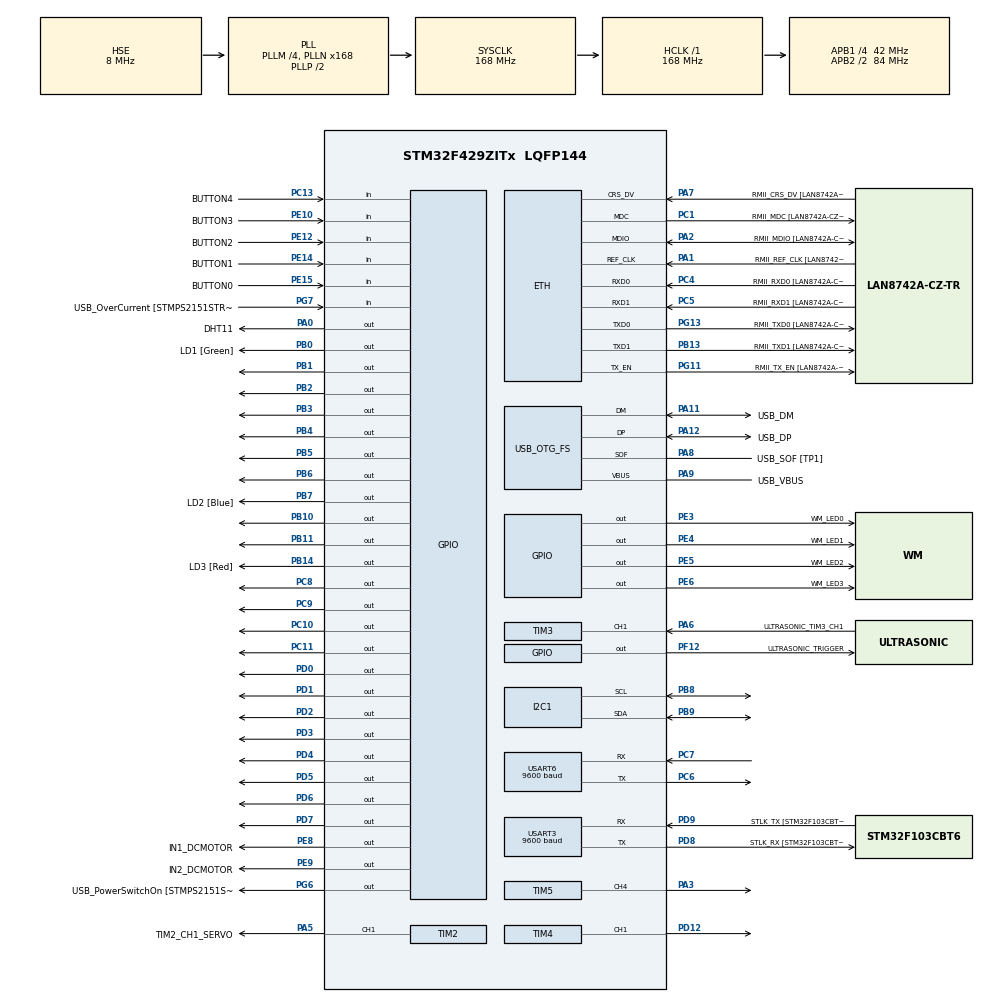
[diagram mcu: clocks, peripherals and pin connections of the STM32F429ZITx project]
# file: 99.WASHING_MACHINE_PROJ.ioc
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ETH.MediaInterface=HAL_ETH_RMII_MODE
ETH.PHY_Name=LAN8742A_PHY_ADDRESS
ETH.PHY_Value=0
ETH.PhyAddress=0
Mcu.Family=STM32F4
Mcu.Name=STM32F429ZITx
Mcu.Package=LQFP144
NVIC.PriorityGroup=NVIC_PRIORITYGROUP_4
NVIC.TIM1_TRG_COM_TIM11_IRQn=true\:0\:0\:false\:false\:true\:true\:true\:true
NVIC.TIM1_UP_TIM10_IRQn=true\:0\:0\:false\:false\:true\:true\:true\:true
NVIC.TIM2_IRQn=true\:0\:0\:false\:false\:true\:true\:true\:true
NVIC.TIM3_IRQn=true\:0\:0\:false\:false\:true\:true\:true\:true
NVIC.TIM5_IRQn=true\:0\:0\:false\:false\:true\:true\:true\:true
NVIC.USART3_IRQn=true\:0\:0\:false\:false\:true\:true\:true\:true
NVIC.USART6_IRQn=true\:0\:0\:false\:false\:true\:true\:true\:true
PA0/WKUP.GPIO_Label=DHT11
PA0/WKUP.Signal=GPIO_Output
PA1.GPIO_Label=RMII_REF_CLK [LAN8742A-CZ-TR_REFCLK0]
PA1.Mode=RMII
PA1.Signal=ETH_REF_CLK
PA10.GPIO_Label=USB_ID
PA10.Signal=USB_OTG_FS_ID
PA11.GPIO_Label=USB_DM
PA11.Mode=Device_Only
PA11.Signal=USB_OTG_FS_DM
PA12.GPIO_Label=USB_DP
PA12.Mode=Device_Only
PA12.Signal=USB_OTG_FS_DP
PA13.GPIO_Label=TMS
PA13.Mode=Serial_Wire
PA13.Signal=SYS_JTMS-SWDIO
PA14.GPIO_Label=TCK
PA14.Mode=Serial_Wire
PA14.Signal=SYS_JTCK-SWCLK
PA2.GPIO_Label=RMII_MDIO [LAN8742A-CZ-TR_MDIO]
PA2.Mode=RMII
PA2.Signal=ETH_MDIO
PA3.Signal=S_TIM5_CH4
PA5.GPIO_Label=TIM2_CH1_SERVO
PA5.Signal=S_TIM2_CH1_ETR
PA6.GPIO_Label=ULTRASONIC_TIM3_CH1
PA6.Signal=S_TIM3_CH1
PA7.GPIO_Label=RMII_CRS_DV [LAN8742A-CZ-TR_CRS_DV]
PA7.Mode=RMII
PA7.Signal=ETH_CRS_DV
PA8.GPIO_Label=USB_SOF [TP1]
PA8.Mode=Activate_SOF_FS
PA8.Signal=USB_OTG_FS_SOF
PA9.GPIO_Label=USB_VBUS
PA9.Mode=Activate_VBUS
PA9.Signal=USB_OTG_FS_VBUS
PB0.GPIO_Label=LD1 [Green]
PB0.Signal=GPIO_Output
PB1.Signal=GPIO_Output
PB10.Signal=GPIO_Output
PB11.Signal=GPIO_Output
PB13.GPIO_Label=RMII_TXD1 [LAN8742A-CZ-TR_TXD1]
PB13.Mode=RMII
PB13.Signal=ETH_TXD1
PB14.GPIO_Label=LD3 [Red]
PB14.Signal=GPIO_Output
PB2/BOOT1.Signal=GPIO_Output
PB3.Signal=GPIO_Output
PB4.Signal=GPIO_Output
PB5.Signal=GPIO_Output
PB6.Signal=GPIO_Output
PB7.GPIO_Label=LD2 [Blue]
PB7.Signal=GPIO_Output
PB8.Mode=I2C
PB8.Signal=I2C1_SCL
PB9.Mode=I2C
PB9.Signal=I2C1_SDA
PC1.GPIO_Label=RMII_MDC [LAN8742A-CZ-TR_MDC]
PC1.Mode=RMII
PC1.Signal=ETH_MDC
PC10.Signal=GPIO_Output
PC11.Signal=GPIO_Output
PC13.GPIO_Label=BUTTON4
PC13.Signal=GPIO_Input
PC14/OSC32_IN.Mode=LSE-External-Oscillator
PC14/OSC32_IN.Signal=RCC_OSC32_IN
PC15/OSC32_OUT.Mode=LSE-External-Oscillator
PC15/OSC32_OUT.Signal=RCC_OSC32_OUT
PC4.GPIO_Label=RMII_RXD0 [LAN8742A-CZ-TR_RXD0]
PC4.Mode=RMII
PC4.Signal=ETH_RXD0
PC5.GPIO_Label=RMII_RXD1 [LAN8742A-CZ-TR_RXD1]
PC5.Mode=RMII
PC5.Signal=ETH_RXD1
PC6.Mode=Asynchronous
PC6.Signal=USART6_TX
PC7.Mode=Asynchronous
PC7.Signal=USART6_RX
PC8.Signal=GPIO_Output
PC9.Signal=GPIO_Output
PD0.Signal=GPIO_Output
PD1.Signal=GPIO_Output
PD12.Signal=S_TIM4_CH1
PD2.Signal=GPIO_Output
PD3.Signal=GPIO_Output
PD4.Signal=GPIO_Output
PD5.Signal=GPIO_Output
PD6.Signal=GPIO_Output
PD7.Signal=GPIO_Output
PD8.GPIO_Label=STLK_RX [STM32F103CBT6_PA3]
PD8.Mode=Asynchronous
PD8.Signal=USART3_TX
PD9.GPIO_Label=STLK_TX [STM32F103CBT6_PA2]
PD9.Mode=Asynchronous
PD9.Signal=USART3_RX
PE10.GPIO_Label=BUTTON3
PE10.Signal=GPIO_Input
PE12.GPIO_Label=BUTTON2
PE12.Signal=GPIO_Input
PE14.GPIO_Label=BUTTON1
PE14.Signal=GPIO_Input
PE15.GPIO_Label=BUTTON0
PE15.Signal=GPIO_Input
PE3.GPIO_Label=WM_LED0
PE3.Signal=GPIO_Output
PE4.GPIO_Label=WM_LED1
PE4.Signal=GPIO_Output
PE5.GPIO_Label=WM_LED2
PE5.Signal=GPIO_Output
PE6.GPIO_Label=WM_LED3
PE6.Signal=GPIO_Output
PE8.GPIO_Label=IN1_DCMOTOR
PE8.Signal=GPIO_Output
PE9.GPIO_Label=IN2_DCMOTOR
PE9.Signal=GPIO_Output
PF12.GPIO_Label=ULTRASONIC_TRIGGER
PF12.Signal=GPIO_Output
PG11.GPIO_Label=RMII_TX_EN [LAN8742A-CZ-TR_TXEN]
PG11.Mode=RMII
PG11.Signal=ETH_TX_EN
PG13.GPIO_Label=RMII_TXD0 [LAN8742A-CZ-TR_TXD0]
PG13.Mode=RMII
PG13.Signal=ETH_TXD0
PG6.GPIO_Label=USB_PowerSwitchOn [STMPS2151STR_EN]
PG6.Signal=GPIO_Output
PG7.GPIO_Label=USB_OverCurrent [STMPS2151STR_FAULT]
PG7.Signal=GPIO_Input
PH0/OSC_IN.GPIO_Label=MCO [STM32F103CBT6_PA8]
PH0/OSC_IN.Mode=HSE-External-Clock-Source
PH0/OSC_IN.Signal=RCC_OSC_IN
PH1/OSC_OUT.Mode=HSE-External-Clock-Source
PH1/OSC_OUT.Signal=RCC_OSC_OUT
ProjectManager.HeapSize=0x200
ProjectManager.StackSize=0x400
ProjectManager.TargetToolchain=STM32CubeIDE
RCC.48MHZClocksFreq_Value=48000000
RCC.AHBFreq_Value=168000000
RCC.APB1CLKDivider=RCC_HCLK_DIV4
RCC.APB1Freq_Value=42000000
RCC.APB1TimFreq_Value=84000000
RCC.APB2CLKDivider=RCC_HCLK_DIV2
RCC.APB2Freq_Value=84000000
RCC.APB2TimCLKDivider=2
RCC.APB2TimFreq_Value=168000000
RCC.CortexFreq_Value=168000000
RCC.HCLKFreq_Value=168000000
RCC.HSE_VALUE=8000000
RCC.HSI_VALUE=16000000
RCC.PLLM=4
RCC.PLLMUL=RCC_PLL_MUL9
RCC.PLLN=168
RCC.PLLQ=7
RCC.PRESCALERUSB=RCC_USBCLKSOURCE_PLL_DIV1_5
RCC.SYSCLKFreq_VALUE=168000000
RCC.SYSCLKSource=RCC_SYSCLKSOURCE_PLLCLK
RCC.SYSCLKSourceVirtual=RCC_SYSCLKSOURCE_PLLCLK
RCC.USBFreq_Value=48000000
RCC.VCOOutputFreq_Value=336000000
RTC.Date=16
RTC.Hours=9
RTC.Minutes=40
RTC.Month=RTC_MONTH_OCTOBER
RTC.Seconds=0
RTC.Year=23
SH.S_TIM2_CH1_ETR.0=TIM2_CH1,PWM Generation1 CH1
SH.S_TIM3_CH1.0=TIM3_CH1,Input_Capture1_from_TI1
SH.S_TIM4_CH1.0=TIM4_CH1,PWM Generation1 CH1
SH.S_TIM5_CH4.0=TIM5_CH4,PWM Generation4 CH4
TIM10.Period=10000-1
TIM10.Prescaler=168-1
TIM11.Prescaler=168-1
TIM2.Channel-PWM\ Generation1\ CH1=TIM_CHANNEL_1
TIM2.Period=1000-1
TIM2.Prescaler=1680-1
TIM2.Pulse-PWM\ Generation1\ CH1=500-1
TIM3.Channel-Input_Capture1_from_TI1=TIM_CHANNEL_1
TIM3.ICPolarity_CH1=TIM_INPUTCHANNELPOLARITY_BOTHEDGE
TIM3.Prescaler=84-1
TIM4.Channel-PWM\ Generation1\ CH1=TIM_CHANNEL_1
TIM4.OCFastMode_PWM-PWM\ Generation1\ CH1=TIM_OCFAST_ENABLE
TIM4.Period=100-1
TIM4.Prescaler=840-1
TIM4.Pulse-PWM\ Generation1\ CH1=70-1
TIM5.Channel-PWM\ Generation4\ CH4=TIM_CHANNEL_4
TIM5.Period=400-1
TIM5.Prescaler=52.5-1
TIM5.Pulse-PWM\ Generation4\ CH4=200
USART3.BaudRate=9600
USART3.VirtualMode=VM_ASYNC
USART6.BaudRate=9600
USART6.VirtualMode=VM_ASYNC
USB_OTG_FS.VirtualMode=Device_Only
VP_RTC_VS_RTC_Activate.Mode=RTC_Enabled
VP_RTC_VS_RTC_Calendar.Mode=RTC_Calendar
VP_TIM10_VS_ClockSourceINT.Mode=Enable_Timer
VP_TIM11_VS_ClockSourceINT.Mode=Enable_Timer
VP_TIM4_VS_ClockSourceINT.Mode=Internal
VP_TIM5_VS_ClockSourceINT.Mode=Internal
board=NUCLEO-F429ZI

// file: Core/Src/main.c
/* USER CODE BEGIN Header */
/**
  ******************************************************************************
  * @file           : main.c
  * @brief          : Main program body
  ******************************************************************************
  * @attention
  *
  * Copyright (c) 2023 STMicroelectronics.
  * All rights reserved.
  *
  * This software is licensed under terms that can be found in the LICENSE file
  * in the root directory of this software component.
  * If no LICENSE file comes with this software, it is provided AS-IS.
  *
  ******************************************************************************
  */
/* USER CODE END Header */
#include "main.h"
#include "string.h"

ETH_TxPacketConfig TxConfig;
ETH_DMADescTypeDef  DMARxDscrTab[ETH_RX_DESC_CNT]; /* Ethernet Rx DMA Descriptors */
ETH_DMADescTypeDef  DMATxDscrTab[ETH_TX_DESC_CNT]; /* Ethernet Tx DMA Descriptors */

ETH_HandleTypeDef heth;

I2C_HandleTypeDef hi2c1;

RTC_HandleTypeDef hrtc;

TIM_HandleTypeDef htim2;
TIM_HandleTypeDef htim3;
TIM_HandleTypeDef htim4;
TIM_HandleTypeDef htim5;
TIM_HandleTypeDef htim10;
TIM_HandleTypeDef htim11;

UART_HandleTypeDef huart3;
UART_HandleTypeDef huart6;

PCD_HandleTypeDef hpcd_USB_OTG_FS;

/* USER CODE BEGIN PV */
uint8_t rx_data;	// uart3 rx_data
uint8_t bt_rx_data;	// uart6 rx_data
volatile int TIM10_10ms_counter=0;
volatile int TIM10_10ms_ultrasonic=0;
/* USER CODE END PV */

void SystemClock_Config(void);
static void MX_GPIO_Init(void);
static void MX_ETH_Init(void);
static void MX_USART3_UART_Init(void);
static void MX_USB_OTG_FS_PCD_Init(void);
static void MX_USART6_UART_Init(void);
static void MX_TIM10_Init(void);
static void MX_TIM11_Init(void);
static void MX_TIM3_Init(void);
static void MX_I2C1_Init(void);
static void MX_TIM4_Init(void);
static void MX_TIM2_Init(void);
static void MX_RTC_Init(void);
static void MX_TIM5_Init(void);
/* USER CODE BEGIN PFP */
extern void led_main(void);
extern void pc_command_processing(void);
extern void bt_command_processing(void);
extern void DHT11_main(void);
extern void DHT11_Init(void);
extern void DHT11_processing(void);
extern void ultrasonic_processing(void);
extern void i2c_lcd_main(void);
extern void i2c_lcd_init(void);
extern void lcd_string(uint8_t *str);
extern void move_cursor(uint8_t row, uint8_t column);
extern void dcmotor_pwm_control(void);
extern void servo_motor_test_main(void);
extern void get_rtc(void);
extern void lcd_display_mode_select(void);
extern void set_time_button_ui(void);
extern void buzzer_main();
extern void fnd4digit_main(void);
extern void FND4digit_off(void);
extern void fnd4digit_sec_clock(void);
extern void wm_menu(void);

void delay_us (unsigned long us);
/* USER CODE END PFP */

/* USER CODE BEGIN 0 */
//---------------------
// call by SysTic_Handler of stm32f4xx_it.c
// ARM default timer
// enter here every 1ms
volatile int t1ms_counter=0;	//volatile: for disable optimize
volatile int fnd1ms_counter=0;
void HAL_SYSTICK_Handler(void)	//
{
	t1ms_counter++;	// 1ms timer
	fnd1ms_counter++;
}

//----------  printf start ----------
#ifdef __GNUC__
/* With GCC, small printf (option LD Linker->Libraries->Small printf
   set to 'Yes') calls __io_putchar() */
#define PUTCHAR_PROTOTYPE int __io_putchar(int ch)
#else
#define PUTCHAR_PROTOTYPE int fputc(int ch, FILE *f)
#endif /* __GNUC_ */
/**
  * @brief  Retargets the C library printf function to the USART.
  * @param  None
  * @retval None
  */
PUTCHAR_PROTOTYPE   // Add for printf
{
  /* Place your implementation of fputc here */
  /* e.g. write a character to the USART3 and Loop until the end of transmission */
  HAL_UART_Transmit(&huart3, (uint8_t *)&ch, 1, 0xFFFF);

  return ch;
}

// move from Driver/STM32F4xx_HAL_Driver/stm32f4xx_hal_tim.c to here
// enter here when every timer INT occurs

void HAL_TIM_PeriodElapsedCallback(TIM_HandleTypeDef *htim)
{
	if(htim->Instance == TIM10)
	{
		TIM10_10ms_counter++;	// 10 ms timer counter
		TIM10_10ms_ultrasonic++;// ultrasonic trigger timer
	}
}

void delay_us (unsigned long us)
{
	__HAL_TIM_SET_COUNTER(&htim11, 0);	// tim11 clear
	while(__HAL_TIM_GET_COUNTER(&htim11) < us)
		;
}
/* USER CODE END 0 */

int main(void)
{

  /* MCU Configuration--------------------------------------------------------*/

  /* Reset of all peripherals, Initializes the Flash interface and the Systick. */
  HAL_Init();

  /* Configure the system clock */
  SystemClock_Config();

  /* Initialize all configured peripherals */
  MX_GPIO_Init();
  MX_ETH_Init();
  MX_USART3_UART_Init();
  MX_USB_OTG_FS_PCD_Init();
  MX_USART6_UART_Init();
  MX_TIM10_Init();
  MX_TIM11_Init();
  MX_TIM3_Init();
  MX_I2C1_Init();
  MX_TIM4_Init();
  MX_TIM2_Init();
  MX_RTC_Init();
  MX_TIM5_Init();
  /* USER CODE BEGIN 2 */
  HAL_UART_Receive_IT(&huart3, &rx_data, 1);		//assing to RX INT
  HAL_UART_Receive_IT(&huart6, &bt_rx_data, 1);		//assing to BT RX INT
  HAL_TIM_Base_Start_IT(&htim10);		// ADD_HYUCK_1011
  HAL_TIM_Base_Start_IT(&htim11);		// ADD_HYUCK_1011
  HAL_TIM_IC_Start_IT(&htim3, TIM_CHANNEL_1);	// for count pulse(rising edge & falling edge) - echo
  HAL_TIM_PWM_Start_IT(&htim4, TIM_CHANNEL_1);	// for DC motor PWM control
//  HAL_TIM_PWM_Start(&htim2, TIM_CHANNEL_1);	// for SERVO motor PWM
//  HAL_TIM_PWM_Start(&htim5, TIM_CHANNEL_4);	// PIEZO Buzzer

  DHT11_Init();
  i2c_lcd_init();
//  FND4digit_off();

//  led_main();
//  DHT11_main();
//  i2c_lcd_main();
//  servo_motor_test_main();
//  buzzer_main();
//  fnd4digit_main();
  /* USER CODE END 2 */

  /* Infinite loop */
  /* USER CODE BEGIN WHILE */
  while (1)
  {
	  lcd_display_mode_select();
//	  pc_command_processing();
//	  ultrasonic_processing();
//	  DHT11_processing();
//	  set_time_button_ui();
//	  fnd4digit_sec_clock();
	  wm_menu();

//	  get_rtc();
//	  dcmotor_pwm_control();
    /* USER CODE END WHILE */

  }
}

void SystemClock_Config(void)
{
  RCC_OscInitTypeDef RCC_OscInitStruct = {0};
  RCC_ClkInitTypeDef RCC_ClkInitStruct = {0};

  /** Configure the main internal regulator output voltage
  */
  __HAL_RCC_PWR_CLK_ENABLE();
  __HAL_PWR_VOLTAGESCALING_CONFIG(PWR_REGULATOR_VOLTAGE_SCALE1);

  /** Initializes the RCC Oscillators according to the specified parameters
  * in the RCC_OscInitTypeDef structure.
  */
  RCC_OscInitStruct.OscillatorType = RCC_OSCILLATORTYPE_LSI|RCC_OSCILLATORTYPE_HSE;
  RCC_OscInitStruct.HSEState = RCC_HSE_BYPASS;
  RCC_OscInitStruct.LSIState = RCC_LSI_ON;
  RCC_OscInitStruct.PLL.PLLState = RCC_PLL_ON;
  RCC_OscInitStruct.PLL.PLLSource = RCC_PLLSOURCE_HSE;
  RCC_OscInitStruct.PLL.PLLM = 4;
  RCC_OscInitStruct.PLL.PLLN = 168;
  RCC_OscInitStruct.PLL.PLLP = RCC_PLLP_DIV2;
  RCC_OscInitStruct.PLL.PLLQ = 7;
  if (HAL_RCC_OscConfig(&RCC_OscInitStruct) != HAL_OK)
  {
    Error_Handler();
  }

  /** Initializes the CPU, AHB and APB buses clocks
  */
  RCC_ClkInitStruct.ClockType = RCC_CLOCKTYPE_HCLK|RCC_CLOCKTYPE_SYSCLK
                              |RCC_CLOCKTYPE_PCLK1|RCC_CLOCKTYPE_PCLK2;
  RCC_ClkInitStruct.SYSCLKSource = RCC_SYSCLKSOURCE_PLLCLK;
  RCC_ClkInitStruct.AHBCLKDivider = RCC_SYSCLK_DIV1;
  RCC_ClkInitStruct.APB1CLKDivider = RCC_HCLK_DIV4;
  RCC_ClkInitStruct.APB2CLKDivider = RCC_HCLK_DIV2;

  if (HAL_RCC_ClockConfig(&RCC_ClkInitStruct, FLASH_LATENCY_5) != HAL_OK)
  {
    Error_Handler();
  }
}

static void MX_ETH_Init(void)
{

   static uint8_t MACAddr[6];

  heth.Instance = ETH;
  MACAddr[0] = 0x00;
  MACAddr[1] = 0x80;
  MACAddr[2] = 0xE1;
  MACAddr[3] = 0x00;
  MACAddr[4] = 0x00;
  MACAddr[5] = 0x00;
  heth.Init.MACAddr = &MACAddr[0];
  heth.Init.MediaInterface = HAL_ETH_RMII_MODE;
  heth.Init.TxDesc = DMATxDscrTab;
  heth.Init.RxDesc = DMARxDscrTab;
  heth.Init.RxBuffLen = 1524;

  if (HAL_ETH_Init(&heth) != HAL_OK)
  {
    Error_Handler();
  }

  memset(&TxConfig, 0 , sizeof(ETH_TxPacketConfig));
  TxConfig.Attributes = ETH_TX_PACKETS_FEATURES_CSUM | ETH_TX_PACKETS_FEATURES_CRCPAD;
  TxConfig.ChecksumCtrl = ETH_CHECKSUM_IPHDR_PAYLOAD_INSERT_PHDR_CALC;
  TxConfig.CRCPadCtrl = ETH_CRC_PAD_INSERT;

}

static void MX_I2C1_Init(void)
{

  hi2c1.Instance = I2C1;
  hi2c1.Init.ClockSpeed = 100000;
  hi2c1.Init.DutyCycle = I2C_DUTYCYCLE_2;
  hi2c1.Init.OwnAddress1 = 0;
  hi2c1.Init.AddressingMode = I2C_ADDRESSINGMODE_7BIT;
  hi2c1.Init.DualAddressMode = I2C_DUALADDRESS_DISABLE;
  hi2c1.Init.OwnAddress2 = 0;
  hi2c1.Init.GeneralCallMode = I2C_GENERALCALL_DISABLE;
  hi2c1.Init.NoStretchMode = I2C_NOSTRETCH_DISABLE;
  if (HAL_I2C_Init(&hi2c1) != HAL_OK)
  {
    Error_Handler();
  }

  /** Configure Analogue filter
  */
  if (HAL_I2CEx_ConfigAnalogFilter(&hi2c1, I2C_ANALOGFILTER_ENABLE) != HAL_OK)
  {
    Error_Handler();
  }

  /** Configure Digital filter
  */
  if (HAL_I2CEx_ConfigDigitalFilter(&hi2c1, 0) != HAL_OK)
  {
    Error_Handler();
  }

}

static void MX_RTC_Init(void)
{

  RTC_TimeTypeDef sTime = {0};
  RTC_DateTypeDef sDate = {0};

  /** Initialize RTC Only
  */
  hrtc.Instance = RTC;
  hrtc.Init.HourFormat = RTC_HOURFORMAT_24;
  hrtc.Init.AsynchPrediv = 127;
  hrtc.Init.SynchPrediv = 255;
  hrtc.Init.OutPut = RTC_OUTPUT_DISABLE;
  hrtc.Init.OutPutPolarity = RTC_OUTPUT_POLARITY_HIGH;
  hrtc.Init.OutPutType = RTC_OUTPUT_TYPE_OPENDRAIN;
  if (HAL_RTC_Init(&hrtc) != HAL_OK)
  {
    Error_Handler();
  }

  /** Initialize RTC and set the Time and Date
  */
  sTime.Hours = 0x9;
  sTime.Minutes = 0x40;
  sTime.Seconds = 0x0;
  sTime.DayLightSaving = RTC_DAYLIGHTSAVING_NONE;
  sTime.StoreOperation = RTC_STOREOPERATION_RESET;
  if (HAL_RTC_SetTime(&hrtc, &sTime, RTC_FORMAT_BCD) != HAL_OK)
  {
    Error_Handler();
  }
  sDate.WeekDay = RTC_WEEKDAY_MONDAY;
  sDate.Month = RTC_MONTH_OCTOBER;
  sDate.Date = 0x16;
  sDate.Year = 0x23;

  if (HAL_RTC_SetDate(&hrtc, &sDate, RTC_FORMAT_BCD) != HAL_OK)
  {
    Error_Handler();
  }

}

static void MX_TIM2_Init(void)
{

  TIM_MasterConfigTypeDef sMasterConfig = {0};
  TIM_OC_InitTypeDef sConfigOC = {0};

  htim2.Instance = TIM2;
  htim2.Init.Prescaler = 1680-1;
  htim2.Init.CounterMode = TIM_COUNTERMODE_UP;
  htim2.Init.Period = 1000-1;
  htim2.Init.ClockDivision = TIM_CLOCKDIVISION_DIV1;
  htim2.Init.AutoReloadPreload = TIM_AUTORELOAD_PRELOAD_DISABLE;
  if (HAL_TIM_PWM_Init(&htim2) != HAL_OK)
  {
    Error_Handler();
  }
  sMasterConfig.MasterOutputTrigger = TIM_TRGO_RESET;
  sMasterConfig.MasterSlaveMode = TIM_MASTERSLAVEMODE_DISABLE;
  if (HAL_TIMEx_MasterConfigSynchronization(&htim2, &sMasterConfig) != HAL_OK)
  {
    Error_Handler();
  }
  sConfigOC.OCMode = TIM_OCMODE_PWM1;
  sConfigOC.Pulse = 500-1;
  sConfigOC.OCPolarity = TIM_OCPOLARITY_HIGH;
  sConfigOC.OCFastMode = TIM_OCFAST_DISABLE;
  if (HAL_TIM_PWM_ConfigChannel(&htim2, &sConfigOC, TIM_CHANNEL_1) != HAL_OK)
  {
    Error_Handler();
  }
  HAL_TIM_MspPostInit(&htim2);

}

static void MX_TIM3_Init(void)
{

  TIM_MasterConfigTypeDef sMasterConfig = {0};
  TIM_IC_InitTypeDef sConfigIC = {0};

  htim3.Instance = TIM3;
  htim3.Init.Prescaler = 84-1;
  htim3.Init.CounterMode = TIM_COUNTERMODE_UP;
  htim3.Init.Period = 65535;
  htim3.Init.ClockDivision = TIM_CLOCKDIVISION_DIV1;
  htim3.Init.AutoReloadPreload = TIM_AUTORELOAD_PRELOAD_DISABLE;
  if (HAL_TIM_IC_Init(&htim3) != HAL_OK)
  {
    Error_Handler();
  }
  sMasterConfig.MasterOutputTrigger = TIM_TRGO_RESET;
  sMasterConfig.MasterSlaveMode = TIM_MASTERSLAVEMODE_DISABLE;
  if (HAL_TIMEx_MasterConfigSynchronization(&htim3, &sMasterConfig) != HAL_OK)
  {
    Error_Handler();
  }
  sConfigIC.ICPolarity = TIM_INPUTCHANNELPOLARITY_BOTHEDGE;
  sConfigIC.ICSelection = TIM_ICSELECTION_DIRECTTI;
  sConfigIC.ICPrescaler = TIM_ICPSC_DIV1;
  sConfigIC.ICFilter = 0;
  if (HAL_TIM_IC_ConfigChannel(&htim3, &sConfigIC, TIM_CHANNEL_1) != HAL_OK)
  {
    Error_Handler();
  }

}

static void MX_TIM4_Init(void)
{

  TIM_ClockConfigTypeDef sClockSourceConfig = {0};
  TIM_MasterConfigTypeDef sMasterConfig = {0};
  TIM_OC_InitTypeDef sConfigOC = {0};

  htim4.Instance = TIM4;
  htim4.Init.Prescaler = 840-1;
  htim4.Init.CounterMode = TIM_COUNTERMODE_UP;
  htim4.Init.Period = 100-1;
  htim4.Init.ClockDivision = TIM_CLOCKDIVISION_DIV1;
  htim4.Init.AutoReloadPreload = TIM_AUTORELOAD_PRELOAD_DISABLE;
  if (HAL_TIM_Base_Init(&htim4) != HAL_OK)
  {
    Error_Handler();
  }
  sClockSourceConfig.ClockSource = TIM_CLOCKSOURCE_INTERNAL;
  if (HAL_TIM_ConfigClockSource(&htim4, &sClockSourceConfig) != HAL_OK)
  {
    Error_Handler();
  }
  if (HAL_TIM_PWM_Init(&htim4) != HAL_OK)
  {
    Error_Handler();
  }
  sMasterConfig.MasterOutputTrigger = TIM_TRGO_RESET;
  sMasterConfig.MasterSlaveMode = TIM_MASTERSLAVEMODE_DISABLE;
  if (HAL_TIMEx_MasterConfigSynchronization(&htim4, &sMasterConfig) != HAL_OK)
  {
    Error_Handler();
  }
  sConfigOC.OCMode = TIM_OCMODE_PWM1;
  sConfigOC.Pulse = 70-1;
  sConfigOC.OCPolarity = TIM_OCPOLARITY_HIGH;
  sConfigOC.OCFastMode = TIM_OCFAST_ENABLE;
  if (HAL_TIM_PWM_ConfigChannel(&htim4, &sConfigOC, TIM_CHANNEL_1) != HAL_OK)
  {
    Error_Handler();
  }
  HAL_TIM_MspPostInit(&htim4);

}

static void MX_TIM5_Init(void)
{

  TIM_ClockConfigTypeDef sClockSourceConfig = {0};
  TIM_MasterConfigTypeDef sMasterConfig = {0};
  TIM_OC_InitTypeDef sConfigOC = {0};

  htim5.Instance = TIM5;
  htim5.Init.Prescaler = 52.5-1;
  htim5.Init.CounterMode = TIM_COUNTERMODE_UP;
  htim5.Init.Period = 400-1;
  htim5.Init.ClockDivision = TIM_CLOCKDIVISION_DIV1;
  htim5.Init.AutoReloadPreload = TIM_AUTORELOAD_PRELOAD_DISABLE;
  if (HAL_TIM_Base_Init(&htim5) != HAL_OK)
  {
    Error_Handler();
  }
  sClockSourceConfig.ClockSource = TIM_CLOCKSOURCE_INTERNAL;
  if (HAL_TIM_ConfigClockSource(&htim5, &sClockSourceConfig) != HAL_OK)
  {
    Error_Handler();
  }
  if (HAL_TIM_PWM_Init(&htim5) != HAL_OK)
  {
    Error_Handler();
  }
  sMasterConfig.MasterOutputTrigger = TIM_TRGO_RESET;
  sMasterConfig.MasterSlaveMode = TIM_MASTERSLAVEMODE_DISABLE;
  if (HAL_TIMEx_MasterConfigSynchronization(&htim5, &sMasterConfig) != HAL_OK)
  {
    Error_Handler();
  }
  sConfigOC.OCMode = TIM_OCMODE_PWM1;
  sConfigOC.Pulse = 200;
  sConfigOC.OCPolarity = TIM_OCPOLARITY_HIGH;
  sConfigOC.OCFastMode = TIM_OCFAST_DISABLE;
  if (HAL_TIM_PWM_ConfigChannel(&htim5, &sConfigOC, TIM_CHANNEL_4) != HAL_OK)
  {
    Error_Handler();
  }
  HAL_TIM_MspPostInit(&htim5);

}

static void MX_TIM10_Init(void)
{

  htim10.Instance = TIM10;
  htim10.Init.Prescaler = 168-1;
  htim10.Init.CounterMode = TIM_COUNTERMODE_UP;
  htim10.Init.Period = 10000-1;
  htim10.Init.ClockDivision = TIM_CLOCKDIVISION_DIV1;
  htim10.Init.AutoReloadPreload = TIM_AUTORELOAD_PRELOAD_DISABLE;
  if (HAL_TIM_Base_Init(&htim10) != HAL_OK)
  {
    Error_Handler();
  }

}

static void MX_TIM11_Init(void)
{

  htim11.Instance = TIM11;
  htim11.Init.Prescaler = 168-1;
  htim11.Init.CounterMode = TIM_COUNTERMODE_UP;
  htim11.Init.Period = 65535;
  htim11.Init.ClockDivision = TIM_CLOCKDIVISION_DIV1;
  htim11.Init.AutoReloadPreload = TIM_AUTORELOAD_PRELOAD_DISABLE;
  if (HAL_TIM_Base_Init(&htim11) != HAL_OK)
  {
    Error_Handler();
  }

}

static void MX_USART3_UART_Init(void)
{

  huart3.Instance = USART3;
  huart3.Init.BaudRate = 9600;
  huart3.Init.WordLength = UART_WORDLENGTH_8B;
  huart3.Init.StopBits = UART_STOPBITS_1;
  huart3.Init.Parity = UART_PARITY_NONE;
  huart3.Init.Mode = UART_MODE_TX_RX;
  huart3.Init.HwFlowCtl = UART_HWCONTROL_NONE;
  huart3.Init.OverSampling = UART_OVERSAMPLING_16;
  if (HAL_UART_Init(&huart3) != HAL_OK)
  {
    Error_Handler();
  }

}

static void MX_USART6_UART_Init(void)
{

  huart6.Instance = USART6;
  huart6.Init.BaudRate = 9600;
  huart6.Init.WordLength = UART_WORDLENGTH_8B;
  huart6.Init.StopBits = UART_STOPBITS_1;
  huart6.Init.Parity = UART_PARITY_NONE;
  huart6.Init.Mode = UART_MODE_TX_RX;
  huart6.Init.HwFlowCtl = UART_HWCONTROL_NONE;
  huart6.Init.OverSampling = UART_OVERSAMPLING_16;
  if (HAL_UART_Init(&huart6) != HAL_OK)
  {
    Error_Handler();
  }

}

static void MX_USB_OTG_FS_PCD_Init(void)
{

  hpcd_USB_OTG_FS.Instance = USB_OTG_FS;
  hpcd_USB_OTG_FS.Init.dev_endpoints = 4;
  hpcd_USB_OTG_FS.Init.speed = PCD_SPEED_FULL;
  hpcd_USB_OTG_FS.Init.dma_enable = DISABLE;
  hpcd_USB_OTG_FS.Init.phy_itface = PCD_PHY_EMBEDDED;
  hpcd_USB_OTG_FS.Init.Sof_enable = ENABLE;
  hpcd_USB_OTG_FS.Init.low_power_enable = DISABLE;
  hpcd_USB_OTG_FS.Init.lpm_enable = DISABLE;
  hpcd_USB_OTG_FS.Init.vbus_sensing_enable = ENABLE;
  hpcd_USB_OTG_FS.Init.use_dedicated_ep1 = DISABLE;
  if (HAL_PCD_Init(&hpcd_USB_OTG_FS) != HAL_OK)
  {
    Error_Handler();
  }

}

static void MX_GPIO_Init(void)
{
  GPIO_InitTypeDef GPIO_InitStruct = {0};

  /* GPIO Ports Clock Enable */
  __HAL_RCC_GPIOE_CLK_ENABLE();
  __HAL_RCC_GPIOC_CLK_ENABLE();
  __HAL_RCC_GPIOH_CLK_ENABLE();
  __HAL_RCC_GPIOA_CLK_ENABLE();
  __HAL_RCC_GPIOB_CLK_ENABLE();
  __HAL_RCC_GPIOF_CLK_ENABLE();
  __HAL_RCC_GPIOD_CLK_ENABLE();
  __HAL_RCC_GPIOG_CLK_ENABLE();

  /*Configure GPIO pin Output Level */
  HAL_GPIO_WritePin(GPIOE, WM_LED0_Pin|WM_LED1_Pin|WM_LED2_Pin|WM_LED3_Pin
                          |IN1_DCMOTOR_Pin|IN2_DCMOTOR_Pin, GPIO_PIN_RESET);

  /*Configure GPIO pin Output Level */
  HAL_GPIO_WritePin(DHT11_GPIO_Port, DHT11_Pin, GPIO_PIN_RESET);

  /*Configure GPIO pin Output Level */
  HAL_GPIO_WritePin(GPIOB, LD1_Pin|GPIO_PIN_1|GPIO_PIN_2|GPIO_PIN_10
                          |GPIO_PIN_11|LD3_Pin|GPIO_PIN_3|GPIO_PIN_4
                          |GPIO_PIN_5|GPIO_PIN_6|LD2_Pin, GPIO_PIN_RESET);

  /*Configure GPIO pin Output Level */
  HAL_GPIO_WritePin(ULTRASONIC_TRIGGER_GPIO_Port, ULTRASONIC_TRIGGER_Pin, GPIO_PIN_RESET);

  /*Configure GPIO pin Output Level */
  HAL_GPIO_WritePin(USB_PowerSwitchOn_GPIO_Port, USB_PowerSwitchOn_Pin, GPIO_PIN_RESET);

  /*Configure GPIO pin Output Level */
  HAL_GPIO_WritePin(GPIOC, GPIO_PIN_8|GPIO_PIN_9|GPIO_PIN_10|GPIO_PIN_11, GPIO_PIN_RESET);

  /*Configure GPIO pin Output Level */
  HAL_GPIO_WritePin(GPIOD, GPIO_PIN_0|GPIO_PIN_1|GPIO_PIN_2|GPIO_PIN_3
                          |GPIO_PIN_4|GPIO_PIN_5|GPIO_PIN_6|GPIO_PIN_7, GPIO_PIN_RESET);

  /*Configure GPIO pins : WM_LED0_Pin WM_LED1_Pin WM_LED2_Pin WM_LED3_Pin
                           IN1_DCMOTOR_Pin IN2_DCMOTOR_Pin */
  GPIO_InitStruct.Pin = WM_LED0_Pin|WM_LED1_Pin|WM_LED2_Pin|WM_LED3_Pin
                          |IN1_DCMOTOR_Pin|IN2_DCMOTOR_Pin;
  GPIO_InitStruct.Mode = GPIO_MODE_OUTPUT_PP;
  GPIO_InitStruct.Pull = GPIO_NOPULL;
  GPIO_InitStruct.Speed = GPIO_SPEED_FREQ_LOW;
  HAL_GPIO_Init(GPIOE, &GPIO_InitStruct);

  /*Configure GPIO pin : BUTTON4_Pin */
  GPIO_InitStruct.Pin = BUTTON4_Pin;
  GPIO_InitStruct.Mode = GPIO_MODE_INPUT;
  GPIO_InitStruct.Pull = GPIO_NOPULL;
  HAL_GPIO_Init(BUTTON4_GPIO_Port, &GPIO_InitStruct);

  /*Configure GPIO pin : DHT11_Pin */
  GPIO_InitStruct.Pin = DHT11_Pin;
  GPIO_InitStruct.Mode = GPIO_MODE_OUTPUT_PP;
  GPIO_InitStruct.Pull = GPIO_NOPULL;
  GPIO_InitStruct.Speed = GPIO_SPEED_FREQ_LOW;
  HAL_GPIO_Init(DHT11_GPIO_Port, &GPIO_InitStruct);

  /*Configure GPIO pins : LD1_Pin PB1 PB2 PB10
                           PB11 LD3_Pin PB3 PB4
                           PB5 PB6 LD2_Pin */
  GPIO_InitStruct.Pin = LD1_Pin|GPIO_PIN_1|GPIO_PIN_2|GPIO_PIN_10
                          |GPIO_PIN_11|LD3_Pin|GPIO_PIN_3|GPIO_PIN_4
                          |GPIO_PIN_5|GPIO_PIN_6|LD2_Pin;
  GPIO_InitStruct.Mode = GPIO_MODE_OUTPUT_PP;
  GPIO_InitStruct.Pull = GPIO_NOPULL;
  GPIO_InitStruct.Speed = GPIO_SPEED_FREQ_LOW;
  HAL_GPIO_Init(GPIOB, &GPIO_InitStruct);

  /*Configure GPIO pin : ULTRASONIC_TRIGGER_Pin */
  GPIO_InitStruct.Pin = ULTRASONIC_TRIGGER_Pin;
  GPIO_InitStruct.Mode = GPIO_MODE_OUTPUT_PP;
  GPIO_InitStruct.Pull = GPIO_NOPULL;
  GPIO_InitStruct.Speed = GPIO_SPEED_FREQ_LOW;
  HAL_GPIO_Init(ULTRASONIC_TRIGGER_GPIO_Port, &GPIO_InitStruct);

  /*Configure GPIO pins : BUTTON3_Pin BUTTON2_Pin BUTTON1_Pin BUTTON0_Pin */
  GPIO_InitStruct.Pin = BUTTON3_Pin|BUTTON2_Pin|BUTTON1_Pin|BUTTON0_Pin;
  GPIO_InitStruct.Mode = GPIO_MODE_INPUT;
  GPIO_InitStruct.Pull = GPIO_NOPULL;
  HAL_GPIO_Init(GPIOE, &GPIO_InitStruct);

  /*Configure GPIO pin : USB_PowerSwitchOn_Pin */
  GPIO_InitStruct.Pin = USB_PowerSwitchOn_Pin;
  GPIO_InitStruct.Mode = GPIO_MODE_OUTPUT_PP;
  GPIO_InitStruct.Pull = GPIO_NOPULL;
  GPIO_InitStruct.Speed = GPIO_SPEED_FREQ_LOW;
  HAL_GPIO_Init(USB_PowerSwitchOn_GPIO_Port, &GPIO_InitStruct);

  /*Configure GPIO pin : USB_OverCurrent_Pin */
  GPIO_InitStruct.Pin = USB_OverCurrent_Pin;
  GPIO_InitStruct.Mode = GPIO_MODE_INPUT;
  GPIO_InitStruct.Pull = GPIO_NOPULL;
  HAL_GPIO_Init(USB_OverCurrent_GPIO_Port, &GPIO_InitStruct);

  /*Configure GPIO pins : PC8 PC9 PC10 PC11 */
  GPIO_InitStruct.Pin = GPIO_PIN_8|GPIO_PIN_9|GPIO_PIN_10|GPIO_PIN_11;
  GPIO_InitStruct.Mode = GPIO_MODE_OUTPUT_PP;
  GPIO_InitStruct.Pull = GPIO_NOPULL;
  GPIO_InitStruct.Speed = GPIO_SPEED_FREQ_LOW;
  HAL_GPIO_Init(GPIOC, &GPIO_InitStruct);

  /*Configure GPIO pins : PD0 PD1 PD2 PD3
                           PD4 PD5 PD6 PD7 */
  GPIO_InitStruct.Pin = GPIO_PIN_0|GPIO_PIN_1|GPIO_PIN_2|GPIO_PIN_3
                          |GPIO_PIN_4|GPIO_PIN_5|GPIO_PIN_6|GPIO_PIN_7;
  GPIO_InitStruct.Mode = GPIO_MODE_OUTPUT_PP;
  GPIO_InitStruct.Pull = GPIO_NOPULL;
  GPIO_InitStruct.Speed = GPIO_SPEED_FREQ_LOW;
  HAL_GPIO_Init(GPIOD, &GPIO_InitStruct);

}

void Error_Handler(void)
{
  __disable_irq();
  while (1)
  {
  }
}
